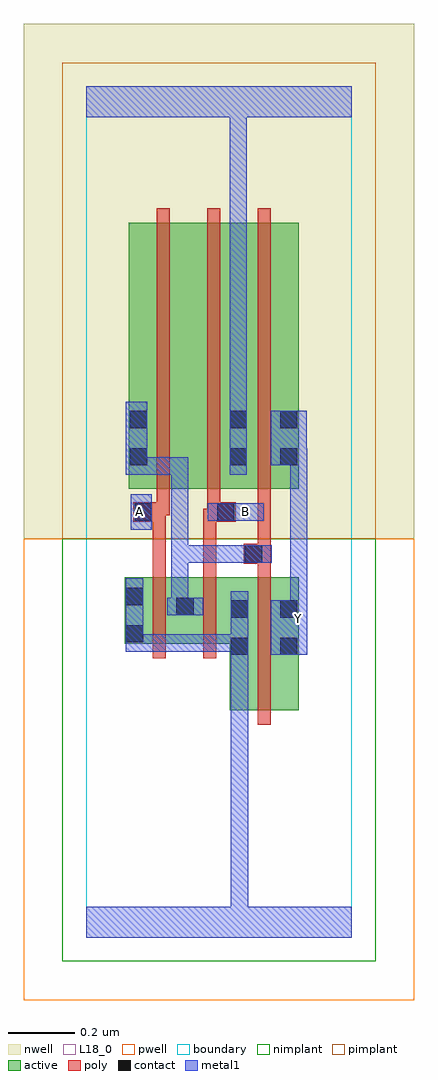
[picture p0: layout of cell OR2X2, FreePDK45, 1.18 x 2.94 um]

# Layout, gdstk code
import gdstk
lib = gdstk.Library(unit=1e-6, precision=1e-09)
def R(c, l, rs):  # rectangles x0, y0, x1, y1
    for r in rs: c.add(gdstk.rectangle(r[:2], r[2:], *l))
def A(c, l, x, y, w, h, nx, ny, dx, dy):  # array of equal rectangles
    R(c, l, [(x+i*dx, y+j*dy, x+i*dx+w, y+j*dy+h) for i in range(nx) for j in range(ny)])
active = (1, 0)
pwell = (2, 0)
nwell = (3, 0)
nimplant = (4, 0)
pimplant = (5, 0)
poly = (9, 0)
contact = (10, 0)
metal1 = (11, 0)
L18_0 = (18, 0)
boundary = (235, 0)

or2x2 = lib.new_cell('OR2X2')
R(or2x2, active, [(0.432,0.684,0.64,1.084), (0.432,0.684,0.492,1.084), (0.58,0.756,0.64,1.084), (0.116,0.884,0.328,1.084), (0.116,0.884,0.176,1.084), (0.268,0.884,0.492,1.084), (0.268,0.956,0.328,1.084), (0.128,1.35,0.188,2.044), (0.128,1.35,0.308,2.15), (0.308,1.35,0.488,2.15), (0.428,1.35,0.488,2.044), (0.428,1.35,0.64,2.15), (0.58,1.35,0.64,2.044)])
R(or2x2, pwell, [(-0.188,-0.188,0.988,1.2)])
R(or2x2, nwell, [(-0.188,1.2,0.988,2.748)])
R(or2x2, nimplant, [(-0.072,-0.072,0.872,1.2)])
R(or2x2, pimplant, [(-0.072,1.2,0.872,2.632)])
A(or2x2, poly, 0.212, 1.306, 0.04, 0.888, 3, 1, 0.152, 0)
R(or2x2, poly, [(0.516,0.64,0.556,1.128), (0.2,0.84,0.24,1.128), (0.352,0.84,0.392,1.128), (0.2,1.088,0.24,1.29), (0.352,1.088,0.392,1.29), (0.516,1.088,0.556,1.164), (0.474,1.124,0.556,1.184), (0.516,1.144,0.556,1.346), (0.516,1.144,0.556,1.184), (0.516,1.144,0.556,1.184), (0.142,1.25,0.24,1.31), (0.352,1.25,0.404,1.29), (0.364,1.25,0.404,1.29), (0.364,1.25,0.45,1.31), (0.2,1.27,0.24,1.31), (0.2,1.27,0.252,1.31), (0.212,1.27,0.252,1.346), (0.364,1.27,0.404,1.346)])
R(or2x2, contact, [(0.436,0.85,0.488,0.902), (0.584,0.85,0.636,0.902), (0.12,0.888,0.172,0.94), (0.436,0.962,0.488,1.014), (0.584,0.962,0.636,1.014), (0.272,0.97,0.324,1.022), (0.12,1,0.172,1.052), (0.478,1.128,0.53,1.18), (0.146,1.254,0.198,1.306), (0.394,1.254,0.446,1.306), (0.132,1.42,0.184,1.472), (0.432,1.42,0.484,1.472), (0.584,1.42,0.636,1.472), (0.132,1.532,0.184,1.584), (0.432,1.532,0.484,1.584), (0.584,1.532,0.636,1.584)])
R(or2x2, metal1, [(0,0,0.8,0.092), (0.436,0.04,0.488,0.092), (0.436,0.04,0.488,0.092), (0.436,0.04,0.488,0.092), (0.436,0.04,0.488,0.092), (0.436,0.04,0.488,0.092), (0.436,0.04,0.488,0.092), (0.436,0.04,0.488,0.092), (0.436,0.04,0.488,0.092), (0.436,0.04,0.488,0.092), (0.436,0.04,0.488,0.092), (0.436,0.04,0.488,0.092), (0.436,0.04,0.488,0.092), (0.436,0.04,0.488,0.874), (0.436,0.822,0.488,1.042), (0.556,0.85,0.666,1.014), (0.12,0.86,0.172,1.08), (0.12,0.86,0.282,0.912), (0.23,0.86,0.282,0.912), (0.23,0.86,0.282,0.912), (0.23,0.86,0.282,0.912), (0.23,0.86,0.282,0.912), (0.23,0.86,0.282,0.912), (0.23,0.86,0.282,0.912), (0.23,0.86,0.282,0.912), (0.23,0.86,0.392,0.912), (0.34,0.86,0.392,0.912), (0.34,0.86,0.488,0.912), (0.614,0.906,0.666,1.014), (0.614,0.962,0.666,1.014), (0.614,0.962,0.666,1.472), (0.244,0.97,0.352,1.022), (0.256,0.97,0.308,1.18), (0.256,1.128,0.308,1.18), (0.256,1.128,0.392,1.18), (0.256,1.128,0.308,1.444), (0.34,1.128,0.392,1.18), (0.34,1.128,0.418,1.18), (0.366,1.128,0.418,1.18), (0.366,1.128,0.502,1.18), (0.45,1.128,0.558,1.18), (0.134,1.226,0.198,1.334), (0.366,1.254,0.534,1.306), (0.12,1.392,0.172,1.444), (0.12,1.392,0.172,1.444), (0.12,1.392,0.172,1.444), (0.12,1.392,0.172,1.444), (0.12,1.392,0.308,1.444), (0.12,1.392,0.184,1.612), (0.256,1.392,0.308,1.444), (0.432,1.392,0.484,1.612), (0.556,1.42,0.664,1.584), (0.612,1.42,0.664,1.472), (0.612,1.42,0.666,1.472), (0.432,1.56,0.484,1.612), (0.432,1.56,0.484,1.612), (0.432,1.56,0.484,1.612), (0.432,1.56,0.484,1.612), (0.432,1.56,0.484,1.612), (0.432,1.56,0.484,1.612), (0.432,1.56,0.484,2.52), (0,2.468,0.8,2.56), (0.432,2.468,0.484,2.52), (0.432,2.468,0.484,2.52)])
R(or2x2, L18_0, [(0,0,0.8,0.092), (0.436,0.04,0.488,0.092), (0.436,0.04,0.488,0.092), (0.436,0.04,0.488,0.092), (0.436,0.04,0.488,0.092), (0.436,0.04,0.488,0.092), (0.436,0.04,0.488,0.092), (0.436,0.04,0.488,0.092), (0.436,0.04,0.488,0.092), (0.436,0.04,0.488,0.092), (0.436,0.04,0.488,0.092), (0.436,0.04,0.488,0.092), (0.436,0.04,0.488,0.092), (0.436,0.04,0.488,0.874), (0.436,0.822,0.488,1.042), (0.556,0.85,0.666,1.014), (0.12,0.86,0.172,1.08), (0.12,0.86,0.282,0.912), (0.23,0.86,0.282,0.912), (0.23,0.86,0.282,0.912), (0.23,0.86,0.282,0.912), (0.23,0.86,0.282,0.912), (0.23,0.86,0.282,0.912), (0.23,0.86,0.282,0.912), (0.23,0.86,0.282,0.912), (0.23,0.86,0.392,0.912), (0.34,0.86,0.392,0.912), (0.34,0.86,0.488,0.912), (0.614,0.906,0.666,1.014), (0.614,0.934,0.666,0.986), (0.614,0.962,0.666,1.014), (0.614,0.962,0.666,1.472), (0.134,1.226,0.198,1.334), (0.134,1.254,0.186,1.306), (0.366,1.254,0.534,1.306), (0.454,1.254,0.506,1.306), (0.432,1.392,0.484,1.612), (0.556,1.42,0.664,1.584), (0.612,1.42,0.664,1.472), (0.612,1.42,0.666,1.472), (0.432,1.56,0.484,1.612), (0.432,1.56,0.484,1.612), (0.432,1.56,0.484,1.612), (0.432,1.56,0.484,1.612), (0.432,1.56,0.484,1.612), (0.432,1.56,0.484,1.612), (0.432,1.56,0.484,2.52), (0,2.468,0.8,2.56), (0.432,2.468,0.484,2.52), (0.432,2.468,0.484,2.52)])
R(or2x2, boundary, [(0,0,0.8,2.56)])
or2x2.add(gdstk.Label('A', (0.16,1.28), layer=11, texttype=0))
or2x2.add(gdstk.Label('B', (0.48,1.28), layer=11, texttype=0))
or2x2.add(gdstk.Label('Y', (0.64,0.96), layer=11, texttype=0))

lib.write_gds('OR2X2.gds')
